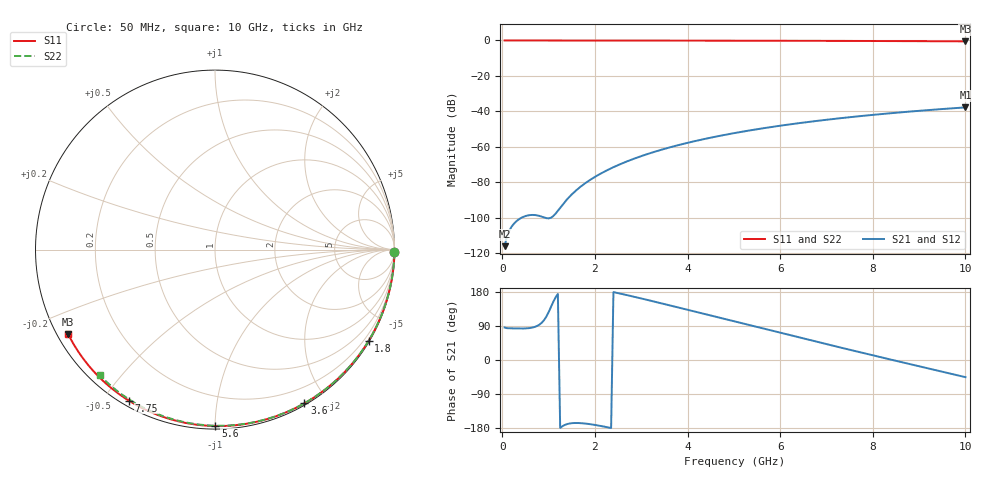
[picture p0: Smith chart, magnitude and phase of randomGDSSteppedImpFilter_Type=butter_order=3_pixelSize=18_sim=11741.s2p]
! freq	dB(S11)	phase(S11)	dB(S12)	phase(S12)
!  dB(S21)	phase(S21)	dB(S22)	phase(S22)
!S-par simulation data
#  GHz  S  DB  R 50
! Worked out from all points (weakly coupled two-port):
!   200 points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, 50 MHz to 10 GHz, reference 50 ohm
!   highest |S21| = -37.71 dB at 10 GHz (marker M1); lowest = -115.9 dB at 50 MHz (marker M2)
!   lowest |S11| = -0.5 dB at 10 GHz (marker M3), VSWR 34.74, Z = 1.54 - j13.4 ohm
!   |S11| at or under -10 dB: nowhere
!   |S22| runs from -0.4 to 0.0 dB; largest |S21 - S12| = 0
!   S11 on the Smith chart (normalised r, x): 50 MHz: open; 1.8 GHz: 0.03, -3.65; 3.6 GHz: 0.02, -1.74; 5.6 GHz: 0.02, -1.00; 7.75 GHz: 0.02, -0.58; 10 GHz: 0.03, -0.27
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0.05  -0.00 -0.9  -115.89 85.6  -115.89 85.6  -0.00 -0.8
0.45  -0.01 -7.8  -99.42 83.2  -99.42 83.2  -0.01 -6.9
0.9  -0.02 -15.5  -99.69 104.9  -99.69 104.9  -0.02 -13.7
1.3  -0.03 -22.3  -92.55 -174.5  -92.55 -174.5  -0.02 -19.7
1.75  -0.04 -29.8  -81.20 -167.2  -81.20 -167.2  -0.03 -26.4
1.8  -0.04 -30.7  -80.25 -167.8  -80.25 -167.8  -0.03 -27.1
2.15  -0.05 -36.5  -74.65 -174.6  -74.65 -174.6  -0.04 -32.3
2.5  -0.05 -42.2  -70.22 176.5  -70.22 176.5  -0.05 -37.4
2.9  -0.06 -48.7  -66.08 165.3  -66.08 165.3  -0.06 -43.2
3.4  -0.08 -56.7  -61.83 150.6  -61.83 150.6  -0.07 -50.3
3.6  -0.08 -59.8  -60.35 144.6  -60.35 144.6  -0.07 -53.1
3.9  -0.09 -64.5  -58.31 135.6  -58.31 135.6  -0.08 -57.2
4.3  -0.10 -70.6  -55.88 123.4  -55.88 123.4  -0.09 -62.7
5.05  -0.13 -81.8  -52.00 100.6  -52.00 100.6  -0.11 -72.8
5.6  -0.15 -89.8  -49.60 83.9  -49.60 83.9  -0.13 -79.9
6.15  -0.17 -97.7  -47.48 67.3  -47.48 67.3  -0.15 -86.9
6.7  -0.20 -105.4  -45.61 50.8  -45.61 50.8  -0.18 -93.8
7.2  -0.24 -112.3  -44.08 35.9  -44.08 35.9  -0.21 -99.9
7.75  -0.28 -119.7  -42.56 19.7  -42.56 19.7  -0.24 -106.5
8.35  -0.33 -127.8  -41.08 2.2  -41.08 2.2  -0.29 -113.5
9.2  -0.41 -139.2  -39.22 -22.3  -39.22 -22.3  -0.36 -123.4
10  -0.50 -150.0  -37.71 -45.3  -37.71 -45.3  -0.45 -132.5
